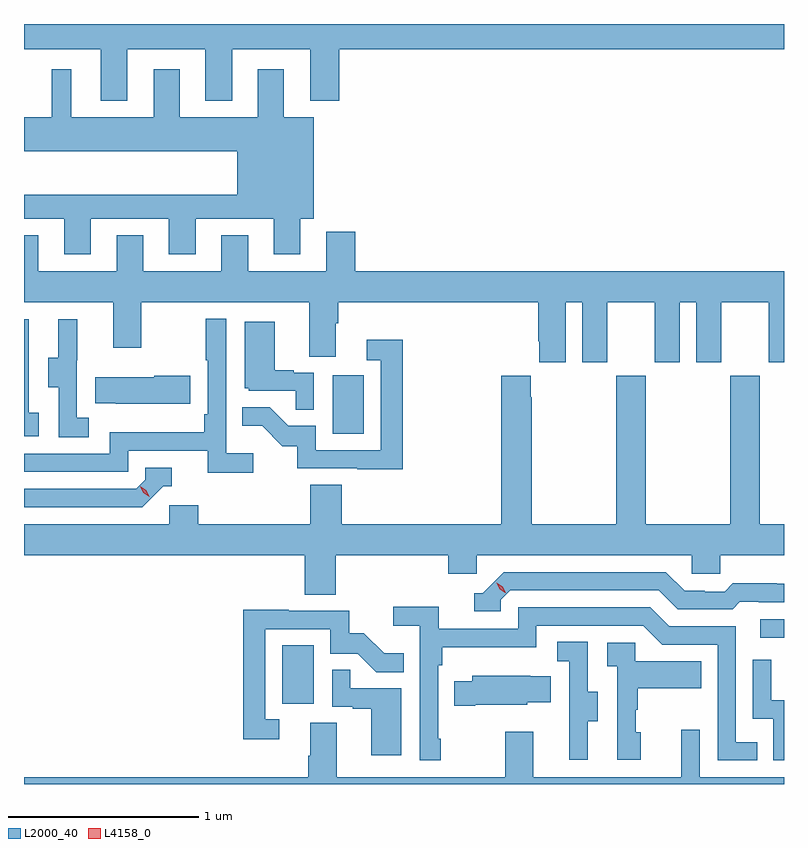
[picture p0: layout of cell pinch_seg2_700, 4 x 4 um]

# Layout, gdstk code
import gdstk
lib = gdstk.Library(unit=1e-6, precision=1e-09)
def R(c, l, rs):  # rectangles x0, y0, x1, y1
    for r in rs: c.add(gdstk.rectangle(r[:2], r[2:], *l))
def P(c, l, *ps):  # polygons
    for p in ps: c.add(gdstk.Polygon(p, *l))
L2000_40 = (2000, 40)
L4158_0 = (4158, 0)

pinch_seg2_700 = lib.new_cell('pinch_seg2_700')
R(pinch_seg2_700, L2000_40, [(1117.034,596.238,1117.198,596.545), (1119.549,596.586,1119.674,596.682), (1117.298,597.66,1117.462,597.967)])
P(pinch_seg2_700, L2000_40, [(1116.217,599.684),(1116.629,599.684),(1116.629,599.411),(1116.769,599.411),(1116.769,599.684),(1117.181,599.684),(1117.181,599.411),(1117.334,599.411),(1117.334,599.684),(1119.674,599.684),(1119.674,599.816),(1115.674,599.816),(1115.674,599.684),(1116.077,599.684),(1116.077,599.411),(1116.217,599.411)],
  [(1116.025,598.79),(1116.437,598.79),(1116.437,598.605),(1116.577,598.605),(1116.577,598.79),(1116.989,598.79),(1116.989,598.605),(1117.129,598.605),(1117.129,598.79),(1117.198,598.79),(1117.198,599.326),(1117.042,599.326),(1117.042,599.578),(1116.905,599.578),(1116.905,599.326),(1116.493,599.326),(1116.493,599.578),(1116.356,599.578),(1116.356,599.326),(1115.923,599.326),(1115.923,599.578),(1115.819,599.578),(1115.819,599.326),(1115.674,599.326),(1115.674,599.147),(1116.797,599.147),(1116.797,598.918),(1115.674,598.918),(1115.674,598.79),(1115.885,598.79),(1115.885,598.605),(1116.025,598.605)],
  [(1118.524,598.352),(1118.612,598.352),(1118.612,598.035),(1118.743,598.035),(1118.743,598.352),(1118.993,598.352),(1118.993,598.035),(1119.124,598.035),(1119.124,598.352),(1119.212,598.352),(1119.212,598.035),(1119.343,598.035),(1119.343,598.352),(1119.593,598.352),(1119.593,598.035),(1119.674,598.035),(1119.674,598.516),(1117.418,598.516),(1117.418,598.723),(1117.265,598.723),(1117.265,598.516),(1116.853,598.516),(1116.853,598.705),(1116.713,598.705),(1116.713,598.516),(1116.301,598.516),(1116.301,598.705),(1116.161,598.705),(1116.161,598.516),(1115.749,598.516),(1115.749,598.705),(1115.674,598.705),(1115.674,598.352),(1116.143,598.352),(1116.143,598.113),(1116.291,598.113),(1116.291,598.352),(1117.175,598.352),(1117.175,598.066),(1117.315,598.066),(1117.315,598.24),(1117.328,598.24),(1117.328,598.352),(1118.381,598.352),(1118.381,598.147),(1118.387,598.147),(1118.387,598.035),(1118.524,598.035)],
  [(1116.88,597.556),(1116.738,597.556),(1116.738,598.264),(1116.63,598.264),(1116.63,598.045),(1116.642,598.045),(1116.642,597.763),(1116.622,597.763),(1116.622,597.667),(1116.126,597.667),(1116.126,597.555),(1115.674,597.555),(1115.674,597.459),(1116.222,597.459),(1116.222,597.57),(1116.641,597.57),(1116.641,597.454),(1116.88,597.454)],
  [(1115.752,597.77),(1115.7,597.77),(1115.7,598.261),(1115.674,598.261),(1115.674,597.645),(1115.752,597.645)],
  [(1116.016,597.743),(1115.952,597.743),(1115.952,598.047),(1115.954,598.047),(1115.954,598.261),(1115.855,598.261),(1115.855,598.059),(1115.801,598.059),(1115.801,597.904),(1115.856,597.904),(1115.856,597.64),(1116.016,597.64)],
  [(1117.2,597.981),(1117.094,597.981),(1117.094,597.994),(1116.994,597.994),(1116.994,598.249),(1116.836,598.249),(1116.836,597.9),(1116.858,597.9),(1116.858,597.885),(1117.105,597.885),(1117.105,597.787),(1117.2,597.787)],
  [(1117.667,598.153),(1117.479,598.153),(1117.479,598.047),(1117.551,598.047),(1117.551,597.573),(1117.209,597.573),(1117.209,597.702),(1117.065,597.702),(1116.967,597.8),(1116.823,597.8),(1116.823,597.701),(1116.927,597.701),(1117.034,597.594),(1117.111,597.594),(1117.111,597.477),(1117.429,597.477),(1117.429,597.472),(1117.667,597.472)],
  [(1116.55,597.966),(1116.359,597.966),(1116.359,597.958),(1116.049,597.958),(1116.049,597.821),(1116.157,597.821),(1116.157,597.818),(1116.55,597.818)],
  [(1117.316,597.02),(1117.907,597.02),(1117.907,596.922),(1118.058,596.922),(1118.058,597.02),(1119.189,597.02),(1119.189,596.922),(1119.339,596.922),(1119.339,597.02),(1119.674,597.02),(1119.674,597.184),(1119.546,597.184),(1119.546,597.964),(1119.391,597.964),(1119.391,597.184),(1118.946,597.184),(1118.946,597.964),(1118.791,597.964),(1118.791,597.184),(1118.346,597.184),(1118.346,597.851),(1118.341,597.851),(1118.341,597.964),(1118.186,597.964),(1118.186,597.184),(1117.346,597.184),(1117.346,597.392),(1117.181,597.392),(1117.181,597.184),(1116.59,597.184),(1116.59,597.282),(1116.438,597.282),(1116.438,597.184),(1115.674,597.184),(1115.674,597.02),(1117.151,597.02),(1117.151,596.812),(1117.316,596.812)],
  [(1116.408,597.384),(1116.451,597.384),(1116.451,597.48),(1116.312,597.48),(1116.312,597.417),(1116.264,597.369),(1115.674,597.369),(1115.674,597.273),(1116.297,597.273)],
  [(1118.184,596.787),(1118.232,596.835),(1119.015,596.835),(1119.114,596.736),(1119.403,596.736),(1119.442,596.775),(1119.541,596.775),(1119.541,596.772),(1119.674,596.772),(1119.674,596.869),(1119.636,596.869),(1119.636,596.872),(1119.403,596.872),(1119.361,596.829),(1119.258,596.829),(1119.258,596.832),(1119.151,596.832),(1119.052,596.931),(1118.199,596.931),(1118.088,596.82),(1118.045,596.82),(1118.045,596.724),(1118.184,596.724)],
  [(1117.867,596.053),(1117.854,596.053),(1117.854,596.441),(1117.874,596.441),(1117.874,596.537),(1118.37,596.537),(1118.37,596.649),(1118.934,596.649),(1119.033,596.55),(1119.324,596.55),(1119.324,595.941),(1119.533,595.941),(1119.533,596.037),(1119.42,596.037),(1119.42,596.646),(1119.07,596.646),(1118.971,596.745),(1118.274,596.745),(1118.274,596.634),(1117.856,596.634),(1117.856,596.75),(1117.617,596.75),(1117.617,596.648),(1117.758,596.648),(1117.758,595.941),(1117.867,595.941)],
  [(1117.018,596.157),(1116.945,596.157),(1116.945,596.631),(1117.287,596.631),(1117.287,596.502),(1117.431,596.502),(1117.529,596.404),(1117.673,596.404),(1117.673,596.503),(1117.569,596.503),(1117.462,596.61),(1117.386,596.61),(1117.386,596.727),(1117.067,596.727),(1117.067,596.732),(1116.829,596.732),(1116.829,596.052),(1117.018,596.052)],
  [(1118.641,596.146),(1118.695,596.146),(1118.695,596.301),(1118.64,596.301),(1118.64,596.564),(1118.481,596.564),(1118.481,596.461),(1118.544,596.461),(1118.544,596.157),(1118.543,596.157),(1118.543,595.944),(1118.641,595.944)],
  [(1118.92,596.088),(1118.895,596.088),(1118.895,596.207),(1118.905,596.207),(1118.905,596.321),(1119.239,596.321),(1119.239,596.461),(1118.892,596.461),(1118.892,596.559),(1118.745,596.559),(1118.745,596.435),(1118.796,596.435),(1118.796,595.944),(1118.92,595.944)],
  [(1119.674,596.258),(1119.606,596.258),(1119.606,596.47),(1119.51,596.47),(1119.51,596.16),(1119.618,596.16),(1119.618,595.941),(1119.674,595.941)],
  [(1117.66,596.319),(1117.391,596.319),(1117.391,596.417),(1117.296,596.417),(1117.296,596.223),(1117.403,596.223),(1117.403,596.211),(1117.502,596.211),(1117.502,595.968),(1117.66,595.968)],
  [(1118.05,596.234),(1118.322,596.234),(1118.322,596.246),(1118.447,596.246),(1118.447,596.383),(1118.339,596.383),(1118.339,596.386),(1118.033,596.386),(1118.033,596.356),(1117.939,596.356),(1117.939,596.227),(1118.05,596.227)],
  [(1119.674,595.852),(1119.231,595.852),(1119.231,596.101),(1119.134,596.101),(1119.134,595.852),(1118.353,595.852),(1118.353,596.092),(1118.206,596.092),(1118.206,595.852),(1117.321,595.852),(1117.321,596.138),(1117.181,596.138),(1117.181,595.964),(1117.169,595.964),(1117.169,595.852),(1115.674,595.852),(1115.674,595.816),(1119.674,595.816)])
P(pinch_seg2_700, L4158_0, [(1118.208,596.822),(1118.178,596.841),(1118.162,596.874),(1118.162,596.874),(1118.162,596.874),(1118.193,596.854),(1118.209,596.822),(1118.209,596.822)],
  [(1116.333,597.329),(1116.302,597.349),(1116.287,597.381),(1116.287,597.382),(1116.287,597.382),(1116.317,597.362),(1116.333,597.329),(1116.333,597.329)])

lib.write_gds('pinch_seg2_700.gds')
